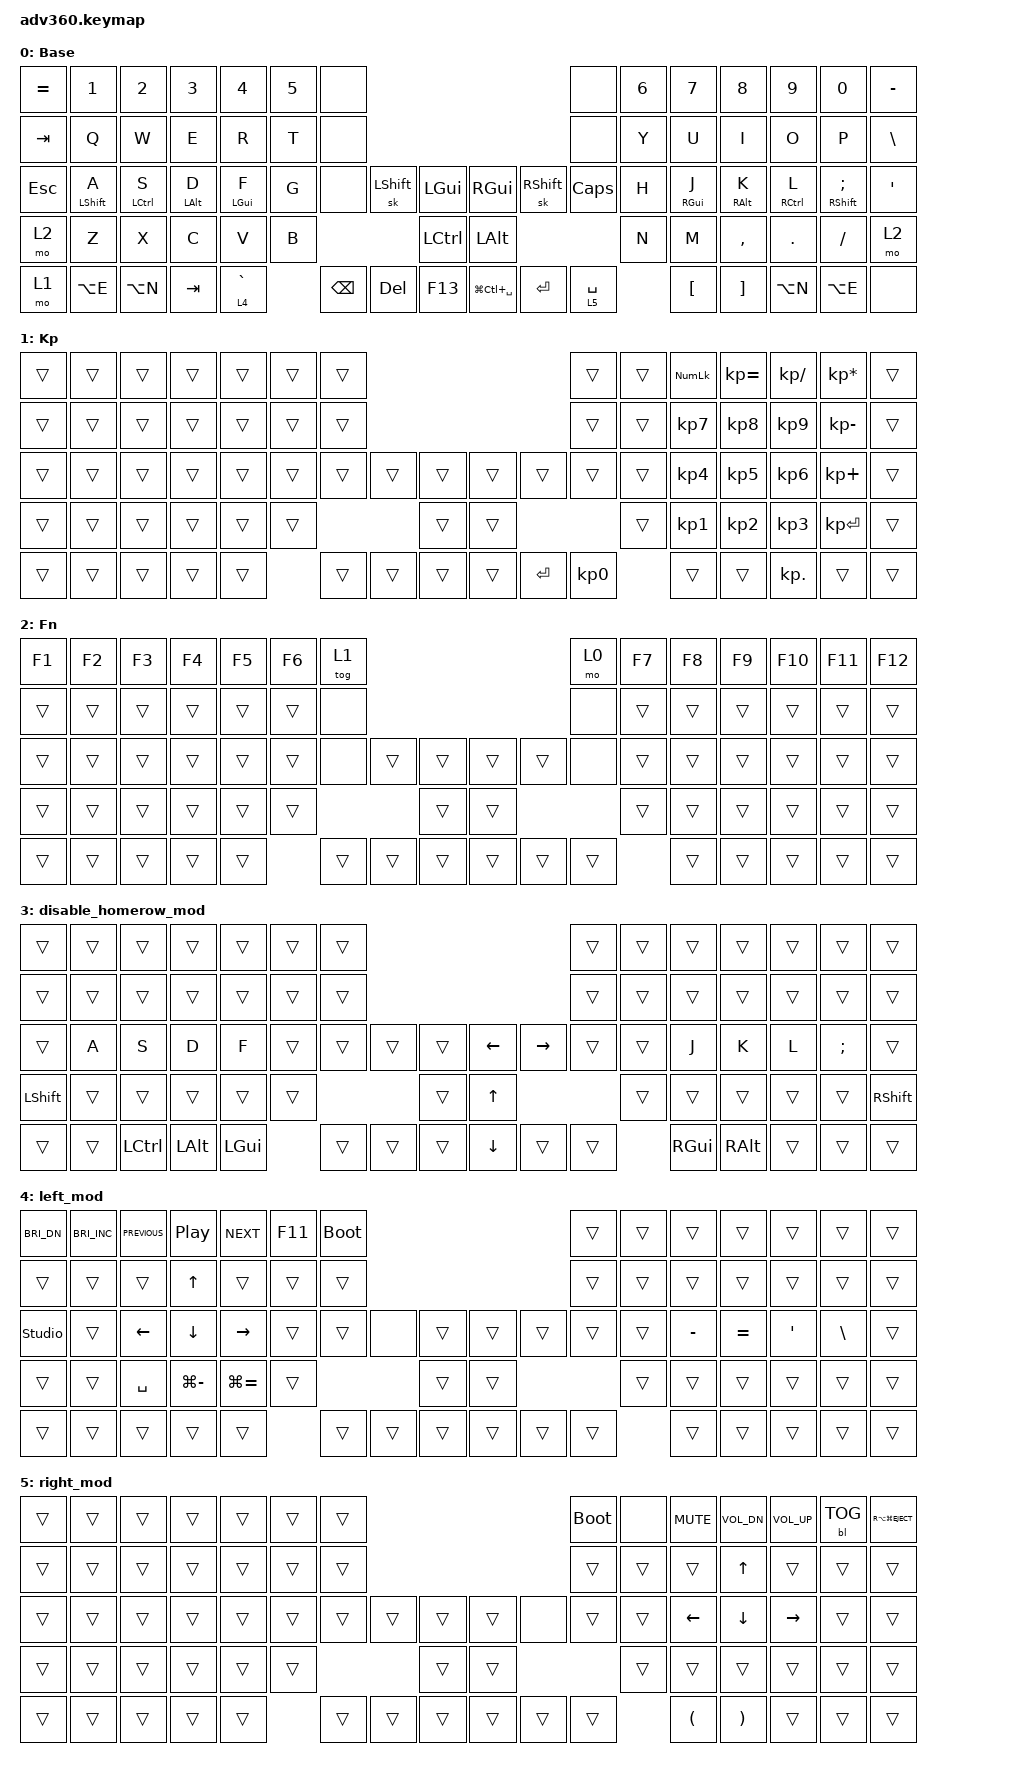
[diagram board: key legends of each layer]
#include <dt-bindings/zmk/stp.h>
#include <behaviors.dtsi>
#include <dt-bindings/zmk/backlight.h>
#include <dt-bindings/zmk/keys.h>

&sk { quick-release; };

/ {
    behaviors {
        #include "macros.dtsi"
      #include "version.dtsi"

        hm: homerow_mods {
            compatible = "zmk,behavior-hold-tap";
            label = "HOMEROW_MODS";
            #binding-cells = <2>;
            tapping-term-ms = <200>;
            quick_tap_ms = <175>;
            flavor = "tap-preferred";
            bindings = <&kp>, <&kp>;
        };

        tap_hold_layer: tap_hold_layer {
            compatible = "zmk,behavior-hold-tap";
            label = "TAP_HOLD_LAYER";
            bindings = <&mo>, <&kp>;

            #binding-cells = <2>;
            tapping-term-ms = <180>;
            flavor = "tap-preferred";
        };
    };

    combos { compatible = "zmk,combos"; };

    macros {
        diw: diw {
            compatible = "zmk,behavior-macro";
            #binding-cells = <0>;
            bindings = <&kp LA(LEFT) &kp RA(RS(RIGHT)) &kp BACKSPACE>;
            label = "DIW";
        };
    };

    keymap {
        compatible = "zmk,keymap";

        default_layer {
            display-name = "Base";
            bindings = <
&kp EQUAL  &kp N1            &kp N2              &kp N3          &kp N4                   &kp N5  &none                                                                                    &none                    &kp N6  &kp N7            &kp N8             &kp N9               &kp N0                     &kp MINUS
&kp TAB    &kp Q             &kp W               &kp E           &kp R                    &kp T   &none                                                                                    &none                    &kp Y   &kp U             &kp I              &kp O                &kp P                      &kp BSLH
&kp ESC    &hm LEFT_SHIFT A  &hm LEFT_CONTROL S  &hm LEFT_ALT D  &hm LEFT_GUI F           &kp G   &none          &sk LEFT_SHIFT  &kp LEFT_GUI          &kp RIGHT_GUI      &sk RIGHT_SHIFT  &kp CAPSLOCK             &kp H   &hm RIGHT_GUI J   &hm RIGHT_ALT K    &hm RIGHT_CONTROL L  &hm RIGHT_SHIFT SEMICOLON  &kp SQT
&mo 2      &kp Z             &kp X               &kp C           &kp V                    &kp B                                  &kp LEFT_CONTROL      &kp LEFT_ALT                                                 &kp N   &kp M             &kp COMMA          &kp DOT              &kp FSLH                   &mo 2
&mo 1      &kp LA(E)         &kp LA(N)           &kp TAB         &tap_hold_layer 4 GRAVE          &kp BACKSPACE  &kp DELETE      &kp F13               &kp LG(LC(SPACE))  &kp ENTER        &tap_hold_layer 5 SPACE          &kp LEFT_BRACKET  &kp RIGHT_BRACKET  &kp LA(N)            &kp LA(E)                  &none
            >;
        };

        keypad {
            display-name = "Kp";
            bindings = <
&trans  &trans  &trans  &trans  &trans  &trans  &trans                                         &trans     &trans  &kp KP_NUM  &kp KP_EQUAL  &kp KP_DIVIDE  &kp KP_MULTIPLY  &trans
&trans  &trans  &trans  &trans  &trans  &trans  &trans                                         &trans     &trans  &kp KP_N7   &kp KP_N8     &kp KP_N9      &kp KP_MINUS     &trans
&trans  &trans  &trans  &trans  &trans  &trans  &trans  &trans  &trans      &trans  &trans     &trans     &trans  &kp KP_N4   &kp KP_N5     &kp KP_N6      &kp KP_PLUS      &trans
&trans  &trans  &trans  &trans  &trans  &trans                  &trans      &trans                        &trans  &kp KP_N1   &kp KP_N2     &kp KP_N3      &kp KP_ENTER     &trans
&trans  &trans  &trans  &trans  &trans          &trans  &trans  &trans      &trans  &kp ENTER  &kp KP_N0          &trans      &trans        &kp KP_DOT     &trans           &trans
            >;
        };

        fn {
            display-name = "Fn";
            bindings = <
&kp F1  &kp F2  &kp F3  &kp F4  &kp F5  &kp F6  &tog 1                                      &mo 0   &kp F7  &kp F8  &kp F9  &kp F10  &kp F11  &kp F12
&trans  &trans  &trans  &trans  &trans  &trans  &none                                       &none   &trans  &trans  &trans  &trans   &trans   &trans
&trans  &trans  &trans  &trans  &trans  &trans  &none   &trans  &trans      &trans  &trans  &none   &trans  &trans  &trans  &trans   &trans   &trans
&trans  &trans  &trans  &trans  &trans  &trans                  &trans      &trans                  &trans  &trans  &trans  &trans   &trans   &trans
&trans  &trans  &trans  &trans  &trans          &trans  &trans  &trans      &trans  &trans  &trans          &trans  &trans  &trans   &trans   &trans
            >;
        };

        disable_homerow_mod {
            bindings = <
&trans          &trans  &trans            &trans        &trans        &trans  &trans                                               &trans  &trans  &trans         &trans         &trans  &trans         &trans
&trans          &trans  &trans            &trans        &trans        &trans  &trans                                               &trans  &trans  &trans         &trans         &trans  &trans         &trans
&trans          &kp A   &kp S             &kp D         &kp F         &trans  &trans  &trans  &trans      &kp LEFT      &kp RIGHT  &trans  &trans  &kp J          &kp K          &kp L   &kp SEMICOLON  &trans
&kp LEFT_SHIFT  &trans  &trans            &trans        &trans        &trans                  &trans      &kp UP_ARROW                     &trans  &trans         &trans         &trans  &trans         &kp RIGHT_SHIFT
&trans          &trans  &kp LEFT_CONTROL  &kp LEFT_ALT  &kp LEFT_GUI          &trans  &trans  &trans      &kp DOWN      &trans     &trans          &kp RIGHT_GUI  &kp RIGHT_ALT  &trans  &trans         &trans
            >;
        };

        left_mod {
            bindings = <
&kp C_BRI_DN    &kp C_BRIGHTNESS_INC  &kp C_PREVIOUS  &kp C_PP        &kp C_NEXT       &kp F11  &bootloader                                      &trans  &trans  &trans     &trans     &trans            &trans         &trans
&trans          &trans                &trans          &kp UP_ARROW    &trans           &trans   &trans                                           &trans  &trans  &trans     &trans     &trans            &trans         &trans
&studio_unlock  &trans                &kp LEFT_ARROW  &kp DOWN_ARROW  &kp RIGHT_ARROW  &trans   &trans       &none   &trans      &trans  &trans  &trans  &trans  &kp MINUS  &kp EQUAL  &kp SINGLE_QUOTE  &kp BACKSLASH  &trans
&trans          &trans                &kp SPACE       &kp LG(MINUS)   &kp LG(EQUAL)    &trans                        &trans      &trans                  &trans  &trans     &trans     &trans            &trans         &trans
&trans          &trans                &trans          &trans          &trans                    &trans       &trans  &trans      &trans  &trans  &trans          &trans     &trans     &trans            &trans         &trans
            >;
        };

        right_mod {
            bindings = <
&trans  &trans  &trans  &trans  &trans  &trans  &trans                                      &bootloader  &none   &kp C_MUTE            &kp C_VOL_DN           &kp C_VOL_UP  &bl BL_TOG  &kp RA(LG(C_EJECT))
&trans  &trans  &trans  &trans  &trans  &trans  &trans                                      &trans       &trans  &trans                &kp UP_ARROW           &trans        &trans      &trans
&trans  &trans  &trans  &trans  &trans  &trans  &trans  &trans  &trans      &trans  &none   &trans       &trans  &kp LEFT_ARROW        &kp DOWN               &kp RIGHT     &trans      &trans
&trans  &trans  &trans  &trans  &trans  &trans                  &trans      &trans                       &trans  &trans                &trans                 &trans        &trans      &trans
&trans  &trans  &trans  &trans  &trans          &trans  &trans  &trans      &trans  &trans  &trans               &kp LEFT_PARENTHESIS  &kp RIGHT_PARENTHESIS  &trans        &trans      &trans
            >;
        };
    };
};
